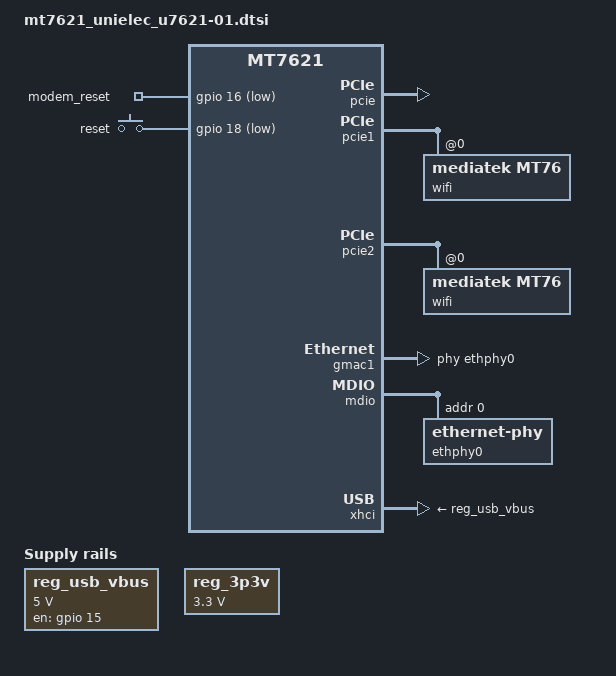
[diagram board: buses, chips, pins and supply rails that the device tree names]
// SPDX-License-Identifier: GPL-2.0-or-later OR MIT

#include "mt7621.dtsi"

#include <dt-bindings/gpio/gpio.h>
#include <dt-bindings/input/input.h>

/ {
	compatible = "unielec,u7621-01", "mediatek,mt7621-soc";

	gpio-export {
		compatible = "gpio-export";
		#size-cells = <0>;

		modem_reset {
			gpio-export,name = "modem_reset";
			gpio-export,output = <1>;
			gpios = <&gpio 16 GPIO_ACTIVE_LOW>;
		};
	};

	keys {
		compatible = "gpio-keys";

		reset {
			label = "reset";
			gpios = <&gpio 18 GPIO_ACTIVE_LOW>;
			linux,code = <KEY_RESTART>;
		};
	};

	reg_usb_vbus: regulator {
		compatible = "regulator-fixed";
		regulator-name = "usb_vbus";
		regulator-min-microvolt = <5000000>;
		regulator-max-microvolt = <5000000>;
		gpio = <&gpio 15 GPIO_ACTIVE_HIGH>;
		enable-active-high;
	};

	reg_3p3v: regulator-3p3v {
		compatible = "regulator-fixed";
		regulator-name = "fixed-3.3V";
		regulator-min-microvolt = <3300000>;
		regulator-max-microvolt = <3300000>;
		regulator-boot-on;
		regulator-always-on;
	};
};

&pcie {
	status = "okay";
};

&pcie1 { // MT7603EN
	wifi@0,0 {
		compatible = "mediatek,mt76";
		reg = <0x0000 0 0 0 0>;
		mediatek,mtd-eeprom = <&factory 0x0000>;

		led {
			led-active-low;
		};
	};
};

&pcie2 { // MT7612E
	wifi@0,0 {
		compatible = "mediatek,mt76";
		reg = <0x0000 0 0 0 0>;
		mediatek,mtd-eeprom = <&factory 0x8000>;
		ieee80211-freq-limit = <5000000 6000000>;
	};
};

&gmac1 {
	status = "okay";
	label = "wan";
	phy-handle = <&ethphy0>;
};

&mdio {
	ethphy0: ethernet-phy@0 {
		reg = <0>;
	};
};

&switch0 {
	ports {
		port@1 {
			status = "okay";
			label = "lan1";
		};

		port@2 {
			status = "okay";
			label = "lan2";
		};

		port@3 {
			status = "okay";
			label = "lan3";
		};

		port@4 {
			status = "okay";
			label = "lan4";
		};
	};
};

&state_default {
	gpio {
		groups = "jtag", "uart2", "wdt";
		function = "gpio";
	};
};

&xhci {
	vbus-supply = <&reg_usb_vbus>;
	vusb33-supply = <&reg_3p3v>;
};
